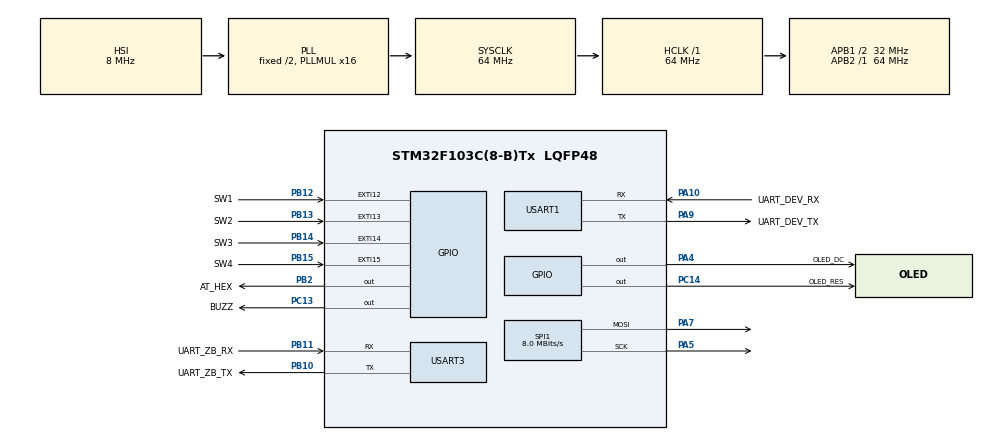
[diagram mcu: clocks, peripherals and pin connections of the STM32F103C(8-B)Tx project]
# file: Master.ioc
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Mcu.Family=STM32F1
Mcu.Name=STM32F103C(8-B)Tx
Mcu.Package=LQFP48
NVIC.EXTI15_10_IRQn=true\:1\:1\:true\:false\:true\:true\:true
NVIC.PriorityGroup=NVIC_PRIORITYGROUP_3
NVIC.USART1_IRQn=true\:1\:0\:true\:false\:true\:true\:true
NVIC.USART3_IRQn=true\:1\:0\:true\:false\:true\:true\:true
PA10.GPIO_Label=UART_DEV_RX
PA10.Mode=Asynchronous
PA10.Signal=USART1_RX
PA13.Mode=Serial_Wire
PA13.Signal=SYS_JTMS-SWDIO
PA14.Mode=Serial_Wire
PA14.Signal=SYS_JTCK-SWCLK
PA4.GPIO_Label=OLED_DC
PA4.GPIO_Speed=GPIO_SPEED_FREQ_HIGH
PA4.PinState=GPIO_PIN_SET
PA4.Signal=GPIO_Output
PA5.Mode=TX_Only_Simplex_Unidirect_Master
PA5.Signal=SPI1_SCK
PA7.Mode=TX_Only_Simplex_Unidirect_Master
PA7.Signal=SPI1_MOSI
PA9.GPIO_Label=UART_DEV_TX
PA9.Mode=Asynchronous
PA9.Signal=USART1_TX
PB10.GPIO_Label=UART_ZB_TX
PB10.Mode=Asynchronous
PB10.Signal=USART3_TX
PB11.GPIO_Label=UART_ZB_RX
PB11.Mode=Asynchronous
PB11.Signal=USART3_RX
PB12.GPIO_Label=SW1
PB12.GPIO_PuPd=GPIO_PULLDOWN
PB12.Signal=GPXTI12
PB13.GPIO_Label=SW2
PB13.GPIO_PuPd=GPIO_PULLDOWN
PB13.Signal=GPXTI13
PB14.GPIO_Label=SW3
PB14.GPIO_PuPd=GPIO_PULLDOWN
PB14.Signal=GPXTI14
PB15.GPIO_Label=SW4
PB15.GPIO_PuPd=GPIO_PULLDOWN
PB15.Signal=GPXTI15
PB2.GPIO_Label=AT_HEX
PB2.GPIO_ModeDefaultOutputPP=GPIO_MODE_OUTPUT_PP
PB2.GPIO_PuPd=GPIO_NOPULL
PB2.GPIO_Speed=GPIO_SPEED_FREQ_LOW
PB2.PinState=GPIO_PIN_SET
PB2.Signal=GPIO_Output
PC13-TAMPER-RTC.GPIO_Label=BUZZ
PC13-TAMPER-RTC.Signal=GPIO_Output
PC14-OSC32_IN.GPIO_Label=OLED_RES
PC14-OSC32_IN.GPIO_Speed=GPIO_SPEED_FREQ_HIGH
PC14-OSC32_IN.PinState=GPIO_PIN_SET
PC14-OSC32_IN.Signal=GPIO_Output
ProjectManager.HeapSize=0x200
ProjectManager.StackSize=0x400
ProjectManager.TargetToolchain=MDK-ARM V5.27
RCC.AHBFreq_Value=64000000
RCC.APB1CLKDivider=RCC_HCLK_DIV2
RCC.APB1Freq_Value=32000000
RCC.APB1TimFreq_Value=64000000
RCC.APB2Freq_Value=64000000
RCC.APB2TimFreq_Value=64000000
RCC.HCLKFreq_Value=64000000
RCC.LSE_Timout=5000
RCC.PLLMUL=RCC_PLL_MUL16
RCC.PREFETCH_ENABLE=0
RCC.SYSCLKFreq_VALUE=64000000
RCC.SYSCLKSource=RCC_SYSCLKSOURCE_PLLCLK
RCC.USBFreq_Value=64000000
SPI1.BaudRatePrescaler=SPI_BAUDRATEPRESCALER_8
SPI1.CLKPhase=SPI_PHASE_2EDGE
SPI1.CLKPolarity=SPI_POLARITY_HIGH
SPI1.CalculateBaudRate=8.0 MBits/s
SPI1.Direction=SPI_DIRECTION_2LINES
SPI1.Mode=SPI_MODE_MASTER
SPI1.VirtualType=VM_MASTER
USART1.VirtualMode=VM_ASYNC
USART3.VirtualMode=VM_ASYNC
VP_RTC_No_RTC_Output.Mode=RTC_OUT_NO
VP_RTC_VS_RTC_Activate.Mode=RTC_Enabled
VP_RTC_VS_RTC_Calendar.Mode=RTC_Calendar
board=custom

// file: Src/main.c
/* USER CODE BEGIN Header */
/**
  ******************************************************************************
  * @file           : main.c
  * @brief          : Main program body
  ******************************************************************************
  * @attention
  *
  * <h2><center>&copy; Copyright (c) 2019 STMicroelectronics.
  * All rights reserved.</center></h2>
  *
  * This software component is licensed by ST under BSD 3-Clause license,
  * the "License"; You may not use this file except in compliance with the
  * License. You may obtain a copy of the License at:
  *                        opensource.org/licenses/BSD-3-Clause
  *
  ******************************************************************************
  */
/* USER CODE END Header */

#include "main.h"

/* USER CODE BEGIN Includes */
#include "USR_OLED.h"
#include "ZB_USR.h"
#include "Tasks.h"
//#include "stdio.h"
uint8_t x;
uint8_t y;

/* USER CODE END Includes */

RTC_HandleTypeDef hrtc;

SPI_HandleTypeDef hspi1;

UART_HandleTypeDef huart1;
UART_HandleTypeDef huart3;

void SystemClock_Config(void);
static void MX_GPIO_Init(void);
static void MX_RTC_Init(void);
static void MX_SPI1_Init(void);
static void MX_USART1_UART_Init(void);
static void MX_USART3_UART_Init(void);

int main(void)
{

  /* MCU Configuration--------------------------------------------------------*/

  /* Reset of all peripherals, Initializes the Flash interface and the Systick. */
  HAL_Init();

  /* Configure the system clock */
  SystemClock_Config();

  /* Initialize all configured peripherals */
  MX_GPIO_Init();
  MX_RTC_Init();
  MX_SPI1_Init();
  MX_USART1_UART_Init();
  MX_USART3_UART_Init();
  /* USER CODE BEGIN 2 */
	OLED_usr_init();
	OLED_ShowString(48,2,"TEAM");
	OLED_ShowNum(56,4,10,2,16);
	HAL_Delay(2000);
	OLED_Clear();

	HAL_UART_Receive_IT(&huart3,&x,1);
//	HAL_UART_Receive_IT(&huart1,&y,1);
	ZB_init_USR();
	OLED_show_UI();
	//OLED_show_OV(2,0);
  /* USER CODE END 2 */

  /* Infinite loop */
  /* USER CODE BEGIN WHILE */
  while (1)
  {
		OLED_task();
		TH_task();
    /* USER CODE END WHILE */

  }
}

void SystemClock_Config(void)
{
  RCC_OscInitTypeDef RCC_OscInitStruct = {0};
  RCC_ClkInitTypeDef RCC_ClkInitStruct = {0};
  RCC_PeriphCLKInitTypeDef PeriphClkInit = {0};

  /** Initializes the CPU, AHB and APB busses clocks
  */
  RCC_OscInitStruct.OscillatorType = RCC_OSCILLATORTYPE_HSI|RCC_OSCILLATORTYPE_LSI;
  RCC_OscInitStruct.HSIState = RCC_HSI_ON;
  RCC_OscInitStruct.HSICalibrationValue = RCC_HSICALIBRATION_DEFAULT;
  RCC_OscInitStruct.LSIState = RCC_LSI_ON;
  RCC_OscInitStruct.PLL.PLLState = RCC_PLL_ON;
  RCC_OscInitStruct.PLL.PLLSource = RCC_PLLSOURCE_HSI_DIV2;
  RCC_OscInitStruct.PLL.PLLMUL = RCC_PLL_MUL16;
  if (HAL_RCC_OscConfig(&RCC_OscInitStruct) != HAL_OK)
  {
    Error_Handler();
  }
  /** Initializes the CPU, AHB and APB busses clocks
  */
  RCC_ClkInitStruct.ClockType = RCC_CLOCKTYPE_HCLK|RCC_CLOCKTYPE_SYSCLK
                              |RCC_CLOCKTYPE_PCLK1|RCC_CLOCKTYPE_PCLK2;
  RCC_ClkInitStruct.SYSCLKSource = RCC_SYSCLKSOURCE_PLLCLK;
  RCC_ClkInitStruct.AHBCLKDivider = RCC_SYSCLK_DIV1;
  RCC_ClkInitStruct.APB1CLKDivider = RCC_HCLK_DIV2;
  RCC_ClkInitStruct.APB2CLKDivider = RCC_HCLK_DIV1;

  if (HAL_RCC_ClockConfig(&RCC_ClkInitStruct, FLASH_LATENCY_2) != HAL_OK)
  {
    Error_Handler();
  }
  PeriphClkInit.PeriphClockSelection = RCC_PERIPHCLK_RTC;
  PeriphClkInit.RTCClockSelection = RCC_RTCCLKSOURCE_LSI;
  if (HAL_RCCEx_PeriphCLKConfig(&PeriphClkInit) != HAL_OK)
  {
    Error_Handler();
  }
}

static void MX_RTC_Init(void)
{

  RTC_TimeTypeDef sTime = {0};
  RTC_DateTypeDef DateToUpdate = {0};

  /** Initialize RTC Only
  */
  hrtc.Instance = RTC;
  hrtc.Init.AsynchPrediv = RTC_AUTO_1_SECOND;
  hrtc.Init.OutPut = RTC_OUTPUTSOURCE_NONE;
  if (HAL_RTC_Init(&hrtc) != HAL_OK)
  {
    Error_Handler();
  }

  /** Initialize RTC and set the Time and Date
  */
  sTime.Hours = 0x0;
  sTime.Minutes = 0x0;
  sTime.Seconds = 0x0;

  if (HAL_RTC_SetTime(&hrtc, &sTime, RTC_FORMAT_BCD) != HAL_OK)
  {
    Error_Handler();
  }
  DateToUpdate.WeekDay = RTC_WEEKDAY_MONDAY;
  DateToUpdate.Month = RTC_MONTH_JANUARY;
  DateToUpdate.Date = 0x1;
  DateToUpdate.Year = 0x0;

  if (HAL_RTC_SetDate(&hrtc, &DateToUpdate, RTC_FORMAT_BCD) != HAL_OK)
  {
    Error_Handler();
  }

}

static void MX_SPI1_Init(void)
{

  /* SPI1 parameter configuration*/
  hspi1.Instance = SPI1;
  hspi1.Init.Mode = SPI_MODE_MASTER;
  hspi1.Init.Direction = SPI_DIRECTION_2LINES;
  hspi1.Init.DataSize = SPI_DATASIZE_8BIT;
  hspi1.Init.CLKPolarity = SPI_POLARITY_HIGH;
  hspi1.Init.CLKPhase = SPI_PHASE_2EDGE;
  hspi1.Init.NSS = SPI_NSS_SOFT;
  hspi1.Init.BaudRatePrescaler = SPI_BAUDRATEPRESCALER_16;
  hspi1.Init.FirstBit = SPI_FIRSTBIT_MSB;
  hspi1.Init.TIMode = SPI_TIMODE_DISABLE;
  hspi1.Init.CRCCalculation = SPI_CRCCALCULATION_DISABLE;
  hspi1.Init.CRCPolynomial = 10;
  if (HAL_SPI_Init(&hspi1) != HAL_OK)
  {
    Error_Handler();
  }

}

static void MX_USART1_UART_Init(void)
{

  huart1.Instance = USART1;
  huart1.Init.BaudRate = 115200;
  huart1.Init.WordLength = UART_WORDLENGTH_8B;
  huart1.Init.StopBits = UART_STOPBITS_1;
  huart1.Init.Parity = UART_PARITY_NONE;
  huart1.Init.Mode = UART_MODE_TX_RX;
  huart1.Init.HwFlowCtl = UART_HWCONTROL_NONE;
  huart1.Init.OverSampling = UART_OVERSAMPLING_16;
  if (HAL_UART_Init(&huart1) != HAL_OK)
  {
    Error_Handler();
  }

}

static void MX_USART3_UART_Init(void)
{

  huart3.Instance = USART3;
  huart3.Init.BaudRate = 115200;
  huart3.Init.WordLength = UART_WORDLENGTH_8B;
  huart3.Init.StopBits = UART_STOPBITS_1;
  huart3.Init.Parity = UART_PARITY_NONE;
  huart3.Init.Mode = UART_MODE_TX_RX;
  huart3.Init.HwFlowCtl = UART_HWCONTROL_NONE;
  huart3.Init.OverSampling = UART_OVERSAMPLING_16;
  if (HAL_UART_Init(&huart3) != HAL_OK)
  {
    Error_Handler();
  }

}

static void MX_GPIO_Init(void)
{
  GPIO_InitTypeDef GPIO_InitStruct = {0};

  /* GPIO Ports Clock Enable */
  __HAL_RCC_GPIOC_CLK_ENABLE();
  __HAL_RCC_GPIOA_CLK_ENABLE();
  __HAL_RCC_GPIOB_CLK_ENABLE();

  /*Configure GPIO pin Output Level */
  HAL_GPIO_WritePin(BUZZ_GPIO_Port, BUZZ_Pin, GPIO_PIN_RESET);

  /*Configure GPIO pin Output Level */
  HAL_GPIO_WritePin(OLED_RES_GPIO_Port, OLED_RES_Pin, GPIO_PIN_SET);

  /*Configure GPIO pin Output Level */
  HAL_GPIO_WritePin(OLED_DC_GPIO_Port, OLED_DC_Pin, GPIO_PIN_SET);

  /*Configure GPIO pin Output Level */
  HAL_GPIO_WritePin(AT_HEX_GPIO_Port, AT_HEX_Pin, GPIO_PIN_SET);

  /*Configure GPIO pin : BUZZ_Pin */
  GPIO_InitStruct.Pin = BUZZ_Pin;
  GPIO_InitStruct.Mode = GPIO_MODE_OUTPUT_PP;
  GPIO_InitStruct.Pull = GPIO_NOPULL;
  GPIO_InitStruct.Speed = GPIO_SPEED_FREQ_LOW;
  HAL_GPIO_Init(BUZZ_GPIO_Port, &GPIO_InitStruct);

  /*Configure GPIO pin : OLED_RES_Pin */
  GPIO_InitStruct.Pin = OLED_RES_Pin;
  GPIO_InitStruct.Mode = GPIO_MODE_OUTPUT_PP;
  GPIO_InitStruct.Pull = GPIO_NOPULL;
  GPIO_InitStruct.Speed = GPIO_SPEED_FREQ_HIGH;
  HAL_GPIO_Init(OLED_RES_GPIO_Port, &GPIO_InitStruct);

  /*Configure GPIO pin : OLED_DC_Pin */
  GPIO_InitStruct.Pin = OLED_DC_Pin;
  GPIO_InitStruct.Mode = GPIO_MODE_OUTPUT_PP;
  GPIO_InitStruct.Pull = GPIO_NOPULL;
  GPIO_InitStruct.Speed = GPIO_SPEED_FREQ_HIGH;
  HAL_GPIO_Init(OLED_DC_GPIO_Port, &GPIO_InitStruct);

  /*Configure GPIO pin : AT_HEX_Pin */
  GPIO_InitStruct.Pin = AT_HEX_Pin;
  GPIO_InitStruct.Mode = GPIO_MODE_OUTPUT_PP;
  GPIO_InitStruct.Pull = GPIO_NOPULL;
  GPIO_InitStruct.Speed = GPIO_SPEED_FREQ_LOW;
  HAL_GPIO_Init(AT_HEX_GPIO_Port, &GPIO_InitStruct);

  /*Configure GPIO pins : SW1_Pin SW2_Pin SW3_Pin SW4_Pin */
  GPIO_InitStruct.Pin = SW1_Pin|SW2_Pin|SW3_Pin|SW4_Pin;
  GPIO_InitStruct.Mode = GPIO_MODE_IT_RISING;
  GPIO_InitStruct.Pull = GPIO_PULLDOWN;
  HAL_GPIO_Init(GPIOB, &GPIO_InitStruct);

  /* EXTI interrupt init*/
  HAL_NVIC_SetPriority(EXTI15_10_IRQn, 1, 1);
  HAL_NVIC_EnableIRQ(EXTI15_10_IRQn);

}

void Error_Handler(void)
{
}

/************************ (C) COPYRIGHT STMicroelectronics *****END OF FILE****/
